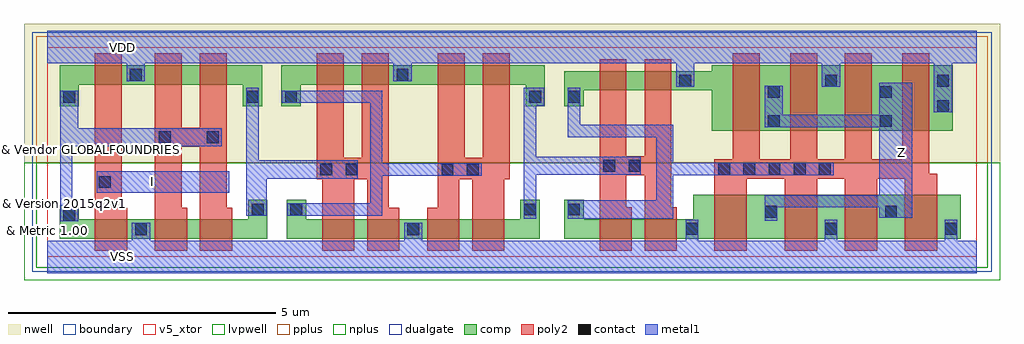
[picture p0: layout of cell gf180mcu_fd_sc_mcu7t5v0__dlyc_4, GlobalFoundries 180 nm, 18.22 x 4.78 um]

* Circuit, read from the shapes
.subckt gf180mcu_fd_sc_mcu7t5v0__dlyc_4 I VDD VSS Z
XM1 VSS I n1 VSUBS nfet_05v0 w=0.36u l=0.6u
XM2 n2 n1 VSS VSUBS nfet_05v0 w=0.36u l=0.6u
XM3 n3 n1 n2 VSUBS nfet_05v0 w=0.36u l=0.6u
XM4 n4 n3 n5 VSUBS nfet_05v0 w=0.36u l=0.6u
XM5 VSS n3 n4 VSUBS nfet_05v0 w=0.36u l=0.6u
XM6 n6 n5 VSS VSUBS nfet_05v0 w=0.36u l=0.6u
XM7 n7 n5 n6 VSUBS nfet_05v0 w=0.36u l=0.6u
XM8 n8 n7 n9 VSUBS nfet_05v0 w=0.365u l=0.6u
XM9 VSS n7 n8 VSUBS nfet_05v0 w=0.365u l=0.6u
XM10 Z n9 VSS VSUBS nfet_05v0 w=0.82u l=0.6u m=4
XM11 VDD I n1 n10 pfet_05v0 w=0.36u l=0.5u
XM12 n11 n1 VDD n10 pfet_05v0 w=0.36u l=0.5u
XM13 n3 n1 n11 n10 pfet_05v0 w=0.36u l=0.5u
XM14 n12 n3 n5 n10 pfet_05v0 w=0.36u l=0.5u
XM15 VDD n3 n12 n10 pfet_05v0 w=0.36u l=0.5u
XM16 n13 n5 VDD n10 pfet_05v0 w=0.36u l=0.5u
XM17 n7 n5 n13 n10 pfet_05v0 w=0.36u l=0.5u
XM18 n14 n7 n9 n10 pfet_05v0 w=0.36u l=0.5u
XM19 VDD n7 n14 n10 pfet_05v0 w=0.36u l=0.5u
XM20 Z n9 VDD n10 pfet_05v0 w=1.22u l=0.5u m=4
.ends

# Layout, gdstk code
import gdstk
lib = gdstk.Library(unit=1e-6, precision=1e-09)
def R(c, l, rs):  # rectangles x0, y0, x1, y1
    for r in rs: c.add(gdstk.rectangle(r[:2], r[2:], *l))
def A(c, l, x, y, w, h, nx, ny, dx, dy):  # array of equal rectangles
    R(c, l, [(x+i*dx, y+j*dy, x+i*dx+w, y+j*dy+h) for i in range(nx) for j in range(ny)])
def P(c, l, *ps):  # polygons
    for p in ps: c.add(gdstk.Polygon(p, *l))
boundary = (0, 0)
nwell = (21, 0)
comp = (22, 0)
poly2 = (30, 0)
pplus = (31, 0)
nplus = (32, 0)
contact = (33, 0)
metal1 = (34, 0)
dualgate = (55, 0)
v5_xtor = (112, 1)
lvpwell = (204, 0)

gf180mcu_fd_sc_mcu7t5v0_ = lib.new_cell('gf180mcu_fd_sc_mcu7t5v0__dlyc_4')
R(gf180mcu_fd_sc_mcu7t5v0_, boundary, [(0,0,17.36,3.92)])
R(gf180mcu_fd_sc_mcu7t5v0_, nwell, [(-0.43,1.76,17.79,4.35)])
P(gf180mcu_fd_sc_mcu7t5v0_, comp, [(0.235,2.81),(0.235,3.58),(4.015,3.58),(4.015,2.81),(3.655,2.81),(3.655,3.22),(0.595,3.22),(0.595,2.81)],
  [(0.235,0.34),(0.235,0.965),(0.595,0.965),(0.595,0.7),(3.755,0.7),(3.755,1.065),(4.115,1.065),(4.115,0.34)],
  [(4.475,0.34),(4.475,1.065),(4.835,1.065),(4.835,0.7),(8.835,0.7),(8.835,1.065),(9.195,1.065),(9.195,0.34)],
  [(4.375,2.81),(4.375,3.58),(9.295,3.58),(9.295,2.81),(8.935,2.81),(8.935,3.22),(4.735,3.22),(4.735,2.81)],
  [(12.405,2.36),(12.405,3.11),(10.015,3.11),(10.015,2.81),(9.655,2.81),(9.655,3.47),(12.405,3.47),(12.405,3.58),(16.905,3.58),(16.905,2.36)],
  [(9.655,0.34),(9.655,1.065),(10.015,1.065),(10.015,0.705),(12.06,0.705),(12.06,1.16),(17.055,1.16),(17.055,0.34)])
P(gf180mcu_fd_sc_mcu7t5v0_, poly2, [(0.895,0.12),(0.895,3.8),(1.395,3.8),(1.395,0.92),(1.495,0.92),(1.495,0.12)],
  [(2.015,0.12),(2.015,3.8),(2.515,3.8),(2.515,2.415),(2.855,2.415),(2.855,3.8),(3.355,3.8),(3.355,0.92),(3.455,0.92),(3.455,0.12),(2.855,0.12),(2.855,2.055),(2.515,2.055),(2.515,0.92),(2.615,0.92),(2.615,0.12)],
  [(5.135,0.12),(5.135,1.45),(5.035,1.45),(5.035,3.8),(5.535,3.8),(5.535,1.855),(5.875,1.855),(5.875,3.8),(6.375,3.8),(6.375,0.92),(6.575,0.92),(6.575,0.12),(5.975,0.12),(5.975,1.45),(5.735,1.45),(5.735,0.12)],
  [(7.095,0.12),(7.095,0.92),(7.295,0.92),(7.295,3.8),(7.795,3.8),(7.795,1.855),(8.135,1.855),(8.135,3.8),(8.635,3.8),(8.635,1.45),(8.535,1.45),(8.535,0.12),(7.935,0.12),(7.935,1.45),(7.695,1.45),(7.695,0.12)],
  [(10.315,0.12),(10.315,3.69),(10.815,3.69),(10.815,1.885),(11.155,1.885),(11.155,3.69),(11.655,3.69),(11.655,0.925),(11.755,0.925),(11.755,0.12),(11.155,0.12),(11.155,1.525),(10.815,1.525),(10.815,0.925),(10.915,0.925),(10.915,0.12)],
  [(12.46,0.12),(12.46,1.825),(12.805,1.825),(12.805,3.8),(13.305,3.8),(13.305,1.825),(13.875,1.825),(13.875,3.8),(14.375,3.8),(14.375,1.825),(14.895,1.825),(14.895,3.8),(15.395,3.8),(15.395,1.825),(15.965,1.825),(15.965,3.8),(16.465,3.8),(16.465,1.555),(16.615,1.555),(16.615,0.12),(16.015,0.12),(16.015,1.46),(15.495,1.46),(15.495,0.12),(14.895,0.12),(14.895,1.46),(14.375,1.46),(14.375,0.12),(13.775,0.12),(13.775,1.46),(13.06,1.46),(13.06,0.12)])
R(gf180mcu_fd_sc_mcu7t5v0_, pplus, [(-0.2,1.76,17.56,4.12)])
R(gf180mcu_fd_sc_mcu7t5v0_, nplus, [(-0.2,-0.2,17.56,1.76)])
A(gf180mcu_fd_sc_mcu7t5v0_, contact, 12.53, 1.535, 0.22, 0.22, 5, 1, 0.47, 0)
R(gf180mcu_fd_sc_mcu7t5v0_, contact, [(1.645,0.41,1.865,0.63), (6.725,0.41,6.945,0.63), (11.93,0.415,12.15,0.635), (14.525,0.415,14.745,0.635), (16.765,0.415,16.985,0.635), (0.305,0.675,0.525,0.895), (13.405,0.735,13.625,0.955), (15.645,0.735,15.865,0.955), (3.825,0.775,4.045,0.995), (4.545,0.775,4.765,0.995), (8.905,0.775,9.125,0.995), (9.725,0.775,9.945,0.995), (0.965,1.29,1.185,1.51), (5.105,1.525,5.325,1.745), (5.575,1.525,5.795,1.745), (7.365,1.525,7.585,1.745), (7.835,1.525,8.055,1.745), (10.385,1.595,10.605,1.815), (10.855,1.595,11.075,1.815), (2.085,2.125,2.305,2.345), (2.985,2.125,3.205,2.345), (13.455,2.43,13.675,2.65), (15.545,2.43,15.765,2.65), (16.615,2.71,16.835,2.93), (0.305,2.88,0.525,3.1), (3.725,2.88,3.945,3.1), (4.445,2.88,4.665,3.1), (9.005,2.88,9.225,3.1), (9.725,2.88,9.945,3.1), (13.455,2.97,13.675,3.19), (15.545,2.97,15.765,3.19), (11.805,3.18,12.025,3.4), (14.525,3.18,14.745,3.4), (16.615,3.18,16.835,3.4), (1.545,3.29,1.765,3.51), (6.525,3.29,6.745,3.51)])
R(gf180mcu_fd_sc_mcu7t5v0_, metal1, [(0.93,1.2,3.405,1.6)])
P(gf180mcu_fd_sc_mcu7t5v0_, metal1, [(0.245,0.67),(0.245,3.105),(0.585,3.105),(0.585,2.405),(3.265,2.405),(3.265,2.065),(0.475,2.065),(0.475,0.9),(0.585,0.9),(0.585,0.67)],
  [(3.72,0.77),(3.72,3.16),(3.95,3.16),(3.95,1.805),(5.8,1.805),(5.8,1.465),(4.105,1.465),(4.105,0.77)],
  [(4.485,0.77),(4.485,1),(6.03,1),(6.03,2.875),(4.385,2.875),(4.385,3.105),(6.26,3.105),(6.26,1.75),(8.115,1.75),(8.115,1.52),(6.26,1.52),(6.26,0.77)],
  [(8.9,0.715),(8.9,3.16),(9.285,3.16),(9.285,2.82),(9.13,2.82),(9.13,1.875),(11.08,1.875),(11.08,1.535),(9.13,1.535),(9.13,0.715)],
  [(9.72,0.715),(9.72,1.055),(11.37,1.055),(11.37,2.235),(9.72,2.235),(9.72,3.16),(9.95,3.16),(9.95,2.465),(11.69,2.465),(11.69,1.76),(14.69,1.76),(14.69,1.53),(11.69,1.53),(11.69,0.715)],
  [(13.395,0.675),(13.395,1.155),(15.54,1.155),(15.54,2.425),(13.395,2.425),(13.395,3.195),(13.735,3.195),(13.735,2.66),(15.54,2.66),(15.54,3.255),(16.15,3.255),(16.15,0.73),(15.54,0.73),(15.54,0.925),(13.63,0.925),(13.63,0.675)],
  [(0,-0.3),(0,0.3),(1.585,0.3),(1.585,0.635),(1.925,0.635),(1.925,0.3),(6.665,0.3),(6.665,0.635),(7.005,0.635),(7.005,0.3),(11.925,0.3),(11.925,0.695),(12.155,0.695),(12.155,0.3),(14.52,0.3),(14.52,0.695),(14.75,0.695),(14.75,0.3),(16.76,0.3),(16.76,0.695),(16.99,0.695),(16.99,0.3),(17.36,0.3),(17.36,-0.3)],
  [(16.555,2.705),(16.555,3.62),(14.805,3.62),(14.805,3.175),(14.465,3.175),(14.465,3.62),(12.085,3.62),(12.085,3.175),(11.745,3.175),(11.745,3.62),(6.805,3.62),(6.805,3.285),(6.465,3.285),(6.465,3.62),(1.825,3.62),(1.825,3.285),(1.485,3.285),(1.485,3.62),(0,3.62),(0,4.22),(17.36,4.22),(17.36,3.62),(16.895,3.62),(16.895,2.705)])
R(gf180mcu_fd_sc_mcu7t5v0_, dualgate, [(-0.28,-0.28,17.64,4.2)])
R(gf180mcu_fd_sc_mcu7t5v0_, v5_xtor, [(0,0,17.36,3.92)])
R(gf180mcu_fd_sc_mcu7t5v0_, lvpwell, [(-0.43,-0.43,17.79,1.76)])
gf180mcu_fd_sc_mcu7t5v0_.add(gdstk.Label('Z', (15.96,1.96), layer=34, texttype=10))
gf180mcu_fd_sc_mcu7t5v0_.add(gdstk.Label('VSS', (1.4,0), layer=34, texttype=10))
gf180mcu_fd_sc_mcu7t5v0_.add(gdstk.Label('I', (1.96,1.4), layer=34, texttype=10))
gf180mcu_fd_sc_mcu7t5v0_.add(gdstk.Label('VDD', (1.4,3.92), layer=34, texttype=10))
gf180mcu_fd_sc_mcu7t5v0_.add(gdstk.Label('& Vendor GLOBALFOUNDRIES', (0,2), layer=63, texttype=63))
gf180mcu_fd_sc_mcu7t5v0_.add(gdstk.Label('& Product GF018hv5v_mcu_sc7', (0,1.5), layer=63, texttype=63))
gf180mcu_fd_sc_mcu7t5v0_.add(gdstk.Label('& Version 2015q2v1', (0,1), layer=63, texttype=63))
gf180mcu_fd_sc_mcu7t5v0_.add(gdstk.Label('& Metric 1.00', (0,0.5), layer=63, texttype=63))

lib.write_gds('gf180mcu_fd_sc_mcu7t5v0__dlyc_4.gds')
